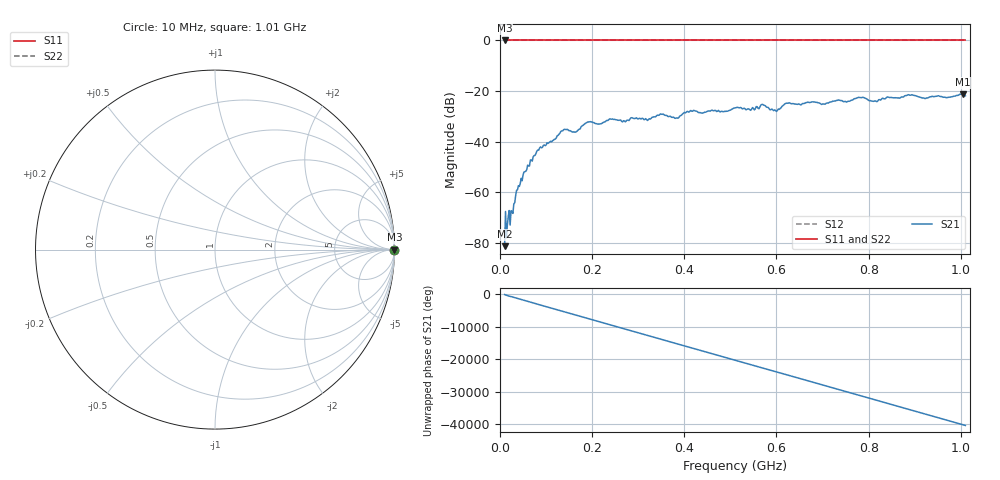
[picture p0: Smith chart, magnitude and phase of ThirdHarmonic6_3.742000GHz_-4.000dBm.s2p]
! 8/17/2025 12:48:43 PM
! C:\ANRITSUVNA\TEMP\TEMP.S2P
! CHANNEL.1
! TR.MEASUREMENT
! RAW.DATA
! RF.CORRECTION.OFF
! AVERAGING.OFF
! IF.BANDWIDTH: 5KHZ
! SWEEPTYPE:  FREQ.SWEEP(Linear)
! Reference Plane Port Info
! PORT:  PORT1  PORT2
! DISTANCE:  0  m  0  m
! TIME:  0  s  0  s
! PHASE.OFFSET:  0  deg.  0  deg.
! LOSS:  0  dB  0  dB
! REF.LOSS:  0  dB  0  dB
! REF.FREQ:  0  Hz  0  Hz
! Power Info
! POWER:  -20  dBm  -20  dBm
! EFF.POWER:  -20  dBm  -20  dBm
! SOURCE.ATTEN:  0  dB  0  dB
! TEST.ATTEN:  0  dB  0  dB
# GHZ S RI R 50.0
! FREQ.GHZ  S11RE  S11IM  S21RE  S21IM  S12RE  S12IM  S22RE  S22IM
!; PortSelection: Port_12
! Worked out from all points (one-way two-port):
!   501 points, 10 MHz to 1.01 GHz, reference 50 ohm
!   highest |S21| = -21.20 dB at 1.004 GHz (marker M1); lowest = -81.2 dB at 10 MHz (marker M2)
!   lowest |S11| = 0.0 dB at 10 MHz (marker M3)
!   |S11| at or under -10 dB: nowhere
!   |S22| runs from 0.0 to 0.0 dB; largest |S21 - S12| = 1.1
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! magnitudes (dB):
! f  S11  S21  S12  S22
! 10 MHz  0.0  -81.2  0.0  0.0
! 16 MHz  0.0  -72.8  0.0  0.0
! 18 MHz  0.0  -69.4  0.0  0.0
! 26 MHz  0.0  -67.6  0.0  0.0
! 42 MHz  0.0  -57.6  0.0  0.0
! 84 MHz  0.0  -43.3  0.0  0.0
! 136 MHz  0.0  -35.7  0.0  0.0
! 162 MHz  0.0  -36.2  0.0  0.0
! 178 MHz  0.0  -33.7  0.0  0.0
! 194 MHz  0.0  -32.2  0.0  0.0
! 322 MHz  0.0  -31.2  0.0  0.0
! 344 MHz  0.0  -29.6  0.0  0.0
! 384 MHz  0.0  -30.6  0.0  0.0
! 416 MHz  0.0  -27.9  0.0  0.0
! 510 MHz  0.0  -26.6  0.0  0.0
! 570 MHz  0.0  -25.2  0.0  0.0
! 598 MHz  0.0  -27.6  0.0  0.0
! 624 MHz  0.0  -24.8  0.0  0.0
! 678 MHz  0.0  -24.2  0.0  0.0
! 844 MHz  0.0  -22.5  0.0  0.0
! 1.004 GHz  0.0  -21.2  0.0  0.0
! 1.01 GHz  0.0  -21.8  0.0  0.0
